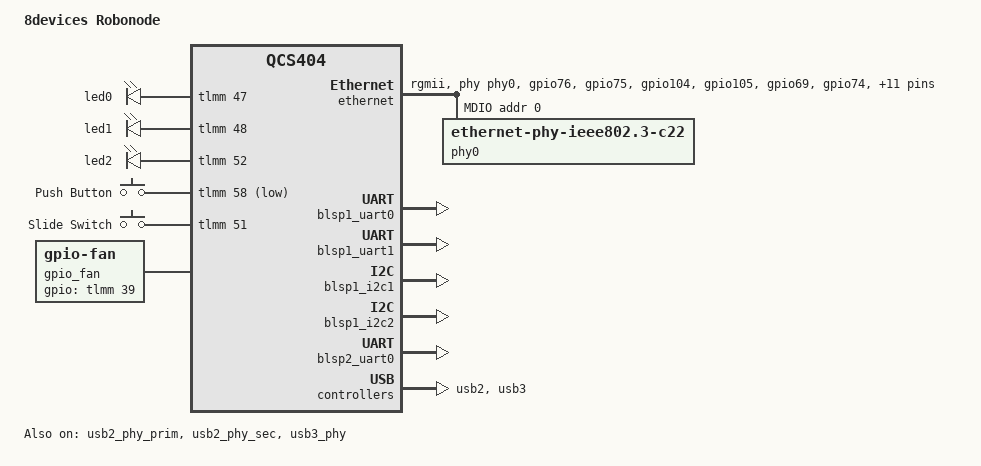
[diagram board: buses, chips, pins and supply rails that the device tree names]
// SPDX-License-Identifier: GPL-2.0
/*
 * Copyright (c) 2025 8Devices UAB
 */

/dts-v1/;

#include <dt-bindings/gpio/gpio.h>
#include <dt-bindings/leds/common.h>
#include "qcs405-8devices-tobufi.dtsi"

/ {
	model = "8devices Robonode";
	compatible = "8devices,robonode", "8devices,tobufi",
		     "qcom,qcs405", "qcom,qcs404";
	qcom,board-id = <0x20 0x0>;
	qcom,msm-id = <352 0x10001>;

	/* Aliases defines TTY character devices mapping in linux.
	 * I.e. serial0 stands for ttyMSM0, etc. */
        aliases {
                serial0 = &blsp1_uart2;
                serial1 = &blsp1_uart0;
                serial2 = &blsp1_uart1;
                serial3 = &blsp2_uart0;
        };
};

&tlmm {
	ethernet_default: ethernet-default-state {
		mdc-pins {
			pins = "gpio76";
			function = "rgmii_mdc";
			bias-pull-up;
		};

		mdio-pins {
			pins = "gpio75";
			function = "rgmii_mdio";
			bias-pull-up;
		};

		phy-rst-pins {
			pins = "gpio104";
			function = "gpio";
			bias-disable;
			drive-strength = <2>;
			output-low;
		};

		phy-intr-pins {
			pins = "gpio105";
			function = "rgmii_int";
			bias-pull-up;
			drive-strength = <2>;
		};

		rx-ck-pins {
			pins = "gpio69";
			function = "rgmii_ck";
			bias-disable;
			drive-strength = <2>;
		};

		rx-ctl-pins {
			pins = "gpio74";
			function = "rgmii_ctl";
			bias-disable;
			drive-strength = <2>;
		};

		rx-pins {
			pins = "gpio73", "gpio72", "gpio71", "gpio70";
			function = "rgmii_rx";
			bias-disable;
			drive-strength = <2>;
		};

		tx-ck-pins {
			pins = "gpio63";
			function = "rgmii_ck";
			bias-pull-up;
			drive-strength = <16>;
		};

		tx-ctl-pins {
			pins = "gpio68";
			function = "rgmii_ctl";
			bias-pull-up;
			drive-strength = <16>;
		};

		tx-pins {
			pins = "gpio67", "gpio66", "gpio65", "gpio64";
			function = "rgmii_tx";
			bias-pull-up;
			drive-strength = <16>;
		};
	};

	gpio_leds: gpio-leds-pins {
		pins = "gpio47", "gpio48", "gpio52";
		function = "gpio";
		bias-pull-down;
		drive-strength = <8>;
	};

	gpio_keys: gpio-keys-pins {
		pins = "gpio51", "gpio58";
		function = "gpio";
		bias-disable;
		drive-strength = <2>;
		input-enable;
	};

	gpio_fan_pins: gpio-fan-pins {
		pins = "gpio39";
		function = "gpio";
		bias-disable;
		drive-strength = <2>;
	};

	usb3_vbus_boost: usb3-vbus-boost {
		pins = "gpio16";
		function = "gpio";
		bias-pull-down;
		drive-strength = <8>;
	};

	usb2_vbus_boost: usb2-vbus-boost {
		pins = "gpio15";
		function = "gpio";
		bias-pull-down;
		drive-strength = <8>;
	};
};

&soc {
	gpio-leds {
		compatible = "gpio-leds";
		pinctrl-names = "default";
		pinctrl-0 = <&gpio_leds>;

		led@47 {
			label = "led0";
			gpios = <&tlmm 47 GPIO_ACTIVE_HIGH>;
			linux,default-trigger = "default-on";
		};

		led@48 {
			label = "led1";
			gpios = <&tlmm 48 GPIO_ACTIVE_HIGH>;
			linux,default-trigger = "default-on";
		};

		led@52 {
			label = "led2";
			gpios = <&tlmm 52 GPIO_ACTIVE_HIGH>;
			linux,default-trigger = "default-on";
		};
	};

	gpio-keys {
		compatible = "gpio-keys";
		pinctrl-0 = <&gpio_keys>;
		pinctrl-names = "default";

		push@58 {
			label = "Push Button";
			linux,code = <BTN_0>;
			gpios = <&tlmm 58 GPIO_ACTIVE_LOW>;
		};

		slide@51 {
			label = "Slide Switch";
			linux,code = <BTN_1>;
			gpios = <&tlmm 51 GPIO_ACTIVE_HIGH>;
		};
	};

	gpio_fan: gpio-fan {
		compatible = "gpio-fan";
		pinctrl-0 = <&gpio_fan_pins>;
		pinctrl-names = "default";
		gpios = <&tlmm 39 GPIO_ACTIVE_HIGH>;
		gpio-fan,speed-map = <0 0>, <1 1>;
		#cooling-cells = <2>;
	};
};

&ethernet {
	snps,reset-gpio = <&tlmm 104 GPIO_ACTIVE_LOW>;
	snps,reset-active-low;
	snps,reset-delays-us = <0 10000 10000>;
	pinctrl-names = "default";
	pinctrl-0 = <&ethernet_default>;
	phy-handle = <&phy0>;
	phy-mode = "rgmii";
	status = "okay";

	mdio {
		compatible = "snps,dwmac-mdio";
		#address-cells = <1>;
		#size-cells = <0>;

		phy0: phy@0 {
			compatible = "ethernet-phy-ieee802.3-c22";
			reg = <0x0>;
			device_type = "ethernet-phy";
		};
	};
};

&blsp1_uart0 {
	status = "okay";
};

&blsp1_uart1 {
	status = "okay";
};

&blsp1_i2c1 {
	status = "okay";
};

&blsp1_i2c2 {
	status = "okay";
};

&blsp2_dma {
	qcom,controlled-remotely;
	status = "okay";
};

&blsp2_uart0 {
	status = "okay";
};

&usb2 {
	status = "okay";
	usb@78c0000 {
		dr_mode = "peripheral";
	};
};

&usb3 {
	status = "okay";
	usb@7580000 {
		dr_mode = "host";
	};
};

&usb2_phy_prim {
	vdd-supply = <&vreg_l4_1p2>;
	vdda1p8-supply = <&vreg_l5_1p8>;
	vdda3p3-supply = <&vreg_l12_3p3>;
	status = "okay";
};

&usb2_phy_sec {
	vdd-supply = <&vreg_l4_1p2>;
	vdda1p8-supply = <&vreg_l5_1p8>;
	vdda3p3-supply = <&vreg_l12_3p3>;
	status = "okay";
};

&usb3_phy {
	vdd-supply = <&vreg_l3_1p05>;
	vdda1p8-supply = <&vreg_l5_1p8>;
	status = "okay";
};

&{/thermal-zones} {
	fan-thermal {
		compatible = "virtual-thermal-zone";
		source-thermal-zones = "cluster-thermal", "cpu0-thermal", "cpu1-thermal", "cpu2-thermal", "cpu3-thermal";
		polling-delay-passive = <250>;
		polling-delay = <1000>;
		thermal-governor = "bang_bang";
		trips {
			fan_trip: fan-trip {
				temperature = <90000>;
				hysteresis = <10000>;
				type = "active";
			};
		};
		cooling-maps {
			map0 {
				trip = <&fan_trip>;
				cooling-device = <&gpio_fan 0 1>;
			};
		};
	};
};

&{/cpus} {
	cpu-map {
		cluster0 {
			core0 {
				cpu = <&CPU0>;
			};
			core1 {
				cpu = <&CPU1>;
			};
			core2 {
				cpu = <&CPU2>;
			};
			core3 {
				cpu = <&CPU3>;
			};
		};
	};
};
